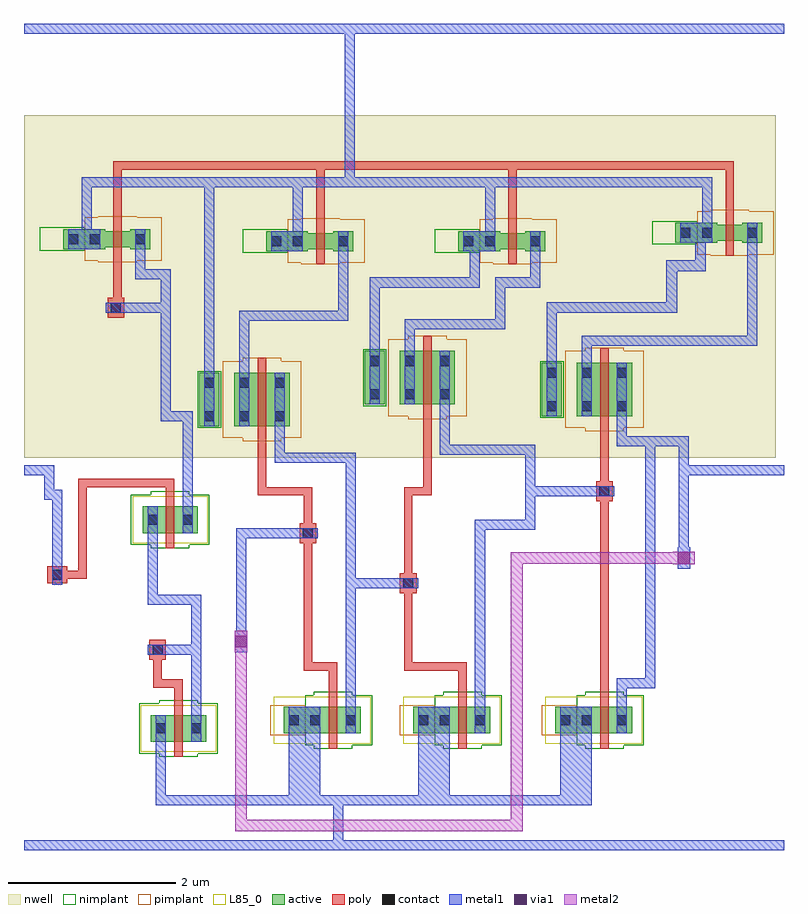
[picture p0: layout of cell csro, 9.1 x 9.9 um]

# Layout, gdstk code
import gdstk
lib = gdstk.Library(unit=1e-6, precision=5e-10)
def R(c, l, rs):  # rectangles x0, y0, x1, y1
    for r in rs: c.add(gdstk.rectangle(r[:2], r[2:], *l))
def A(c, l, x, y, w, h, nx, ny, dx, dy):  # array of equal rectangles
    R(c, l, [(x+i*dx, y+j*dy, x+i*dx+w, y+j*dy+h) for i in range(nx) for j in range(ny)])
active = (1, 0)
nwell = (2, 0)
poly = (3, 0)
nimplant = (4, 0)
pimplant = (5, 0)
contact = (6, 0)
metal1 = (7, 0)
via1 = (8, 0)
metal2 = (9, 0)
L85_0 = (85, 0)

pmos1v_cdns_787862035850 = lib.new_cell('pmos1v_CDNS_787862035850')
R(pmos1v_cdns_787862035850, active, [(-0.7,0,-0.46,0.64), (-0.28,0,0,0.64), (0,0,0.1,0.64), (0.1,0,0.38,0.64)])
R(pmos1v_cdns_787862035850, nwell, [(-0.82,-0.12,0.5,0.76)])
R(pmos1v_cdns_787862035850, poly, [(0,-0.18,0.1,-0.1), (0,-0.1,0.1,0), (0,0,0.1,0.64), (0,0.64,0.1,0.74), (0,0.74,0.1,0.82)])
R(pmos1v_cdns_787862035850, nimplant, [(-0.72,-0.02,-0.44,0.66)])
R(pmos1v_cdns_787862035850, pimplant, [(-0.18,-0.18,0.28,0.82), (-0.42,-0.14,0.52,0.78)])
A(pmos1v_cdns_787862035850, contact, -0.64, 0.06, 0.12, 0.12, 3, 2, 0.42, 0.4)
A(pmos1v_cdns_787862035850, metal1, -0.64, 0, 0.12, 0.64, 3, 1, 0.42, 0)

nmos1v_cdns_787862035851 = lib.new_cell('nmos1v_CDNS_787862035851')
R(nmos1v_cdns_787862035851, active, [(-0.54,0,0,0.32), (0,0,0.1,0.32), (0.1,0,0.38,0.32)])
R(nmos1v_cdns_787862035851, poly, [(0,-0.18,0.1,-0.1), (0,-0.1,0.1,0), (0,0,0.1,0.32), (0,0.32,0.1,0.42), (0,0.42,0.1,0.5)])
R(nmos1v_cdns_787862035851, nimplant, [(-0.18,-0.18,0.28,0.5), (-0.28,-0.14,0.52,0.46)])
R(nmos1v_cdns_787862035851, pimplant, [(-0.7,-0.02,-0.28,0.34)])
R(nmos1v_cdns_787862035851, contact, [(-0.48,0.1,-0.36,0.22), (-0.22,0.1,-0.1,0.22), (0.2,0.1,0.32,0.22)])
R(nmos1v_cdns_787862035851, metal1, [(-0.48,0,-0.1,0.32), (-0.48,0,-0.1,0.32), (0.2,0,0.32,0.32)])
R(nmos1v_cdns_787862035851, L85_0, [(-0.66,-0.12,0.5,0.44)])

nmos1v_cdns_787862035852 = lib.new_cell('nmos1v_CDNS_787862035852')
R(nmos1v_cdns_787862035852, active, [(-0.28,0,0,0.32), (0,0,0.1,0.32), (0.1,0,0.38,0.32)])
R(nmos1v_cdns_787862035852, poly, [(0,-0.18,0.1,-0.1), (0,-0.1,0.1,0), (0,0,0.1,0.32), (0,0.32,0.1,0.42), (0,0.42,0.1,0.5)])
R(nmos1v_cdns_787862035852, nimplant, [(-0.18,-0.18,0.28,0.5), (-0.42,-0.14,0.52,0.46)])
R(nmos1v_cdns_787862035852, contact, [(-0.22,0.1,-0.1,0.22), (0.2,0.1,0.32,0.22)])
R(nmos1v_cdns_787862035852, metal1, [(-0.22,0,-0.1,0.32), (0.2,0,0.32,0.32)])
R(nmos1v_cdns_787862035852, L85_0, [(-0.4,-0.12,0.5,0.44)])

pmos1v_cdns_787862035853 = lib.new_cell('pmos1v_CDNS_787862035853')
A(pmos1v_cdns_787862035853, active, -0.1, 0, 0.1, 0.19, 3, 1, 0.1, 0)
R(pmos1v_cdns_787862035853, active, [(-0.6,-0.025,-0.1,0.215), (0.2,-0.025,0.44,0.215)])
R(pmos1v_cdns_787862035853, nwell, [(-0.72,-0.145,0.56,0.335)])
R(pmos1v_cdns_787862035853, poly, [(0,-0.18,0.1,-0.125), (0,-0.125,0.1,0), (0,0,0.1,0.19), (0,0.19,0.1,0.315), (0,0.315,0.1,0.37)])
R(pmos1v_cdns_787862035853, nimplant, [(-0.88,-0.045,-0.34,0.235)])
R(pmos1v_cdns_787862035853, pimplant, [(-0.18,-0.18,0.28,0.37), (-0.34,-0.165,0.58,0.355)])
R(pmos1v_cdns_787862035853, contact, [(-0.54,0.035,-0.42,0.155), (-0.28,0.035,-0.16,0.155), (0.26,0.035,0.38,0.155)])
R(pmos1v_cdns_787862035853, metal1, [(-0.54,-0.025,-0.16,0.215), (-0.54,-0.025,-0.16,0.215), (0.26,-0.025,0.38,0.215)])

m1_pov_cdns_787862035850 = lib.new_cell('M1_POv_CDNS_787862035850')
R(m1_pov_cdns_787862035850, poly, [(-0.12,-0.1,0.12,0.1)])
R(m1_pov_cdns_787862035850, contact, [(-0.06,-0.06,0.06,0.06)])
R(m1_pov_cdns_787862035850, metal1, [(-0.06,-0.12,0.06,0.12)])

m1_pov_cdns_787862035851 = lib.new_cell('M1_POv_CDNS_787862035851')
R(m1_pov_cdns_787862035851, poly, [(-0.1,-0.12,0.1,0.12)])
R(m1_pov_cdns_787862035851, contact, [(-0.06,-0.06,0.06,0.06)])
R(m1_pov_cdns_787862035851, metal1, [(-0.12,-0.06,0.12,0.06)])

m2_m1v_cdns_787862035852 = lib.new_cell('M2_M1v_CDNS_787862035852')
R(m2_m1v_cdns_787862035852, metal1, [(-0.075,-0.13,0.075,0.13)])
R(m2_m1v_cdns_787862035852, via1, [(-0.07,-0.07,0.07,0.07)])
R(m2_m1v_cdns_787862035852, metal2, [(-0.13,-0.075,0.13,0.075)])

m2_m1v_cdns_787862035853 = lib.new_cell('M2_M1v_CDNS_787862035853')
R(m2_m1v_cdns_787862035853, metal1, [(-0.075,-0.13,0.075,0.13)])
R(m2_m1v_cdns_787862035853, via1, [(-0.07,-0.07,0.07,0.07)])
R(m2_m1v_cdns_787862035853, metal2, [(-0.075,-0.13,0.075,0.13)])

csro = lib.new_cell('csro')
R(csro, nwell, [(0,4.7,9,8.8)])
R(csro, metal1, [(0,0,9.1,0.12), (0,4.49,0.12,4.61), (8.98,4.49,9.1,4.61), (0,9.78,9.1,9.9)])
csro.add(gdstk.FlexPath([(6.95,5.02),(6.95,4.4)], 0.1, ends="flush", simple_path=True, layer=3, datatype=0))  # poly
csro.add(gdstk.FlexPath([(6.9,4.4),(6.95,4.4)], 0.1, ends=(0, 0.05), simple_path=True, layer=3, datatype=0))  # poly
csro.add(gdstk.FlexPath([(6.95,4.3),(6.95,1.9)], 0.1, ends="flush", simple_path=True, layer=3, datatype=0))  # poly
csro.add(gdstk.FlexPath([(4.83,4.3),(4.83,5.16)], 0.1, ends=(0.05, 0), simple_path=True, layer=3, datatype=0))  # poly
csro.add(gdstk.FlexPath([(2.8,4.3),(3.4,4.3)], 0.1, ends=(0, 0.05), simple_path=True, layer=3, datatype=0))  # poly
csro.add(gdstk.FlexPath([(5.3,2.2),(4.6,2.2)], 0.1, ends=(0, 0.05), simple_path=True, layer=3, datatype=0))  # poly
csro.add(gdstk.FlexPath([(4.6,4.3),(4.83,4.3)], 0.1, ends="extended", simple_path=True, layer=3, datatype=0))  # poly
csro.add(gdstk.FlexPath([(5.25,1.9),(5.25,2.2)], 0.1, ends="flush", simple_path=True, layer=3, datatype=0))  # poly
csro.add(gdstk.FlexPath([(2.85,4.9),(2.85,4.3)], 0.1, ends="flush", simple_path=True, layer=3, datatype=0))  # poly
csro.add(gdstk.FlexPath([(1.6,2),(1.6,2.4)], 0.1, ends=(0.05, 0), simple_path=True, layer=3, datatype=0))  # poly
csro.add(gdstk.FlexPath([(1.85,2),(1.6,2)], 0.1, ends="extended", simple_path=True, layer=3, datatype=0))  # poly
csro.add(gdstk.FlexPath([(1.1,6.5),(1.12,6.5)], 0.1, ends=(0, 0.05), simple_path=True, layer=3, datatype=0))  # poly
csro.add(gdstk.FlexPath([(1.12,8.2),(3.55,8.2)], 0.1, ends="extended", simple_path=True, layer=3, datatype=0))  # poly
csro.add(gdstk.FlexPath([(4.6,3.2),(4.6,4.3)], 0.1, ends=(0, 0.05), simple_path=True, layer=3, datatype=0))  # poly
csro.add(gdstk.FlexPath([(6.95,4.4),(6.95,4.3)], 0.1, ends=(0.05, 0), simple_path=True, layer=3, datatype=0))  # poly
csro.add(gdstk.FlexPath([(3.4,4.3),(3.4,2.2),(3.7,2.2),(3.7,1.9)], 0.1, ends=(0.05, 0), simple_path=True, layer=3, datatype=0))  # poly
csro.add(gdstk.FlexPath([(1.85,1.8),(1.85,2)], 0.1, ends=(0, 0.05), simple_path=True, layer=3, datatype=0))  # poly
csro.add(gdstk.FlexPath([(0.5,3.3),(0.3,3.3)], 0.1, ends="flush", simple_path=True, layer=3, datatype=0))  # poly
csro.add(gdstk.FlexPath([(1.7,4.3),(1.8,4.3)], 0.1, ends="flush", simple_path=True, layer=3, datatype=0))  # poly
csro.add(gdstk.FlexPath([(0.5,3.3),(0.7,3.3),(0.7,4.4),(1.8,4.4)], 0.1, ends="flush", simple_path=True, layer=3, datatype=0))  # poly
csro.add(gdstk.FlexPath([(1.12,7.595),(1.12,8.2)], 0.1, ends=(0, 0.05), simple_path=True, layer=3, datatype=0))  # poly
csro.add(gdstk.FlexPath([(5.85,7.57),(5.85,8.2)], 0.1, ends="flush", simple_path=True, layer=3, datatype=0))  # poly
csro.add(gdstk.FlexPath([(3.55,7.57),(3.55,8.2)], 0.1, ends=(0, 0.05), simple_path=True, layer=3, datatype=0))  # poly
csro.add(gdstk.FlexPath([(1.12,6.5),(1.12,7.045)], 0.1, ends=(0.05, 0), simple_path=True, layer=3, datatype=0))  # poly
csro.add(gdstk.FlexPath([(3.6,8.2),(8.5,8.2)], 0.1, ends="flush", simple_path=True, layer=3, datatype=0))  # poly
csro.add(gdstk.FlexPath([(4.6,2.2),(4.6,3.2)], 0.1, ends=(0.05, 0), simple_path=True, layer=3, datatype=0))  # poly
csro.add(gdstk.FlexPath([(3.55,8.2),(3.6,8.2)], 0.1, ends=(0.05, 0), simple_path=True, layer=3, datatype=0))  # poly
csro.add(gdstk.FlexPath([(8.45,7.67),(8.45,8.2)], 0.1, ends="flush", simple_path=True, layer=3, datatype=0))  # poly
csro.add(gdstk.FlexPath([(2.22,8),(0.75,8)], 0.12, ends="extended", simple_path=True, layer=7, datatype=0))  # metal1
csro.add(gdstk.FlexPath([(4.62,5.98),(4.62,6.3)], 0.12, ends=(0, 0.06), simple_path=True, layer=7, datatype=0))  # metal1
csro.add(gdstk.FlexPath([(3.91,3.2),(3.91,1.72)], 0.12, ends=(0.06, 0), simple_path=True, layer=7, datatype=0))  # metal1
csro.add(gdstk.FlexPath([(8.98,4.55),(7.9,4.55)], 0.12, ends=(0, 0.06), simple_path=True, layer=7, datatype=0))  # metal1
csro.add(gdstk.FlexPath([(1.39,6.9),(1.7,6.9)], 0.12, ends="extended", simple_path=True, layer=7, datatype=0))  # metal1
csro.add(gdstk.FlexPath([(1.7,6.9),(1.7,6.5)], 0.12, ends="extended", simple_path=True, layer=7, datatype=0))  # metal1
csro.add(gdstk.FlexPath([(6.06,4.8),(6.06,4.3)], 0.12, ends="extended", simple_path=True, layer=7, datatype=0))  # metal1
csro.add(gdstk.FlexPath([(6.06,4.3),(6.06,3.9)], 0.12, ends="extended", simple_path=True, layer=7, datatype=0))  # metal1
csro.add(gdstk.FlexPath([(6.06,4.3),(6.95,4.3)], 0.12, ends=(0.06, 0), simple_path=True, layer=7, datatype=0))  # metal1
csro.add(gdstk.FlexPath([(3.91,3.2),(4.6,3.2)], 0.12, ends=(0.06, 0), simple_path=True, layer=7, datatype=0))  # metal1
csro.add(gdstk.FlexPath([(7.9,4.55),(7.9,3.5)], 0.12, ends=(0.06, 0), simple_path=True, layer=7, datatype=0))  # metal1
csro.add(gdstk.FlexPath([(2.6,2.5),(2.6,3.8)], 0.12, ends=(0, 0.06), simple_path=True, layer=7, datatype=0))  # metal1
csro.add(gdstk.FlexPath([(2.6,3.8),(3.4,3.8)], 0.12, ends=(0.06, 0), simple_path=True, layer=7, datatype=0))  # metal1
csro.add(gdstk.FlexPath([(1.6,2.4),(2.06,2.4)], 0.12, ends=(0, 0.06), simple_path=True, layer=7, datatype=0))  # metal1
csro.add(gdstk.FlexPath([(2.06,2.4),(2.06,1.62)], 0.12, ends=(0.06, 0), simple_path=True, layer=7, datatype=0))  # metal1
csro.add(gdstk.FlexPath([(6.32,5.74),(6.32,6.5)], 0.12, ends=(0, 0.065), simple_path=True, layer=7, datatype=0))  # metal1
csro.add(gdstk.FlexPath([(6.32,6.5),(7.755,6.5)], 0.13, ends=(0.06, 0.065), simple_path=True, layer=7, datatype=0))  # metal1
csro.add(gdstk.FlexPath([(7.755,6.5),(7.755,7)], 0.13, ends="extended", simple_path=True, layer=7, datatype=0))  # metal1
csro.add(gdstk.FlexPath([(4.2,6.8),(4.2,5.78)], 0.12, ends=(0.06, 0), simple_path=True, layer=7, datatype=0))  # metal1
csro.add(gdstk.FlexPath([(6.12,6.8),(6.12,7.175)], 0.12, ends=(0.06, 0), simple_path=True, layer=7, datatype=0))  # metal1
csro.add(gdstk.FlexPath([(5.7,6.8),(6.12,6.8)], 0.12, ends="extended", simple_path=True, layer=7, datatype=0))  # metal1
csro.add(gdstk.FlexPath([(2.22,5.7),(2.22,8)], 0.12, ends=(0, 0.06), simple_path=True, layer=7, datatype=0))  # metal1
csro.add(gdstk.FlexPath([(2.64,6.4),(3.82,6.4)], 0.12, ends="extended", simple_path=True, layer=7, datatype=0))  # metal1
csro.add(gdstk.FlexPath([(2.64,5.72),(2.64,6.4)], 0.12, ends=(0, 0.06), simple_path=True, layer=7, datatype=0))  # metal1
csro.add(gdstk.FlexPath([(1.7,5.2),(1.96,5.2)], 0.12, ends="extended", simple_path=True, layer=7, datatype=0))  # metal1
csro.add(gdstk.FlexPath([(1.7,6.5),(1.7,5.2)], 0.12, ends="extended", simple_path=True, layer=7, datatype=0))  # metal1
csro.add(gdstk.FlexPath([(0.4,4.26),(0.4,3.3)], 0.12, ends=(0.06, 0), simple_path=True, layer=7, datatype=0))  # metal1
csro.add(gdstk.FlexPath([(0.3,4.26),(0.4,4.26)], 0.12, ends="extended", simple_path=True, layer=7, datatype=0))  # metal1
csro.add(gdstk.FlexPath([(4.91,0.6),(3.76,0.6)], 0.12, ends=(0.19, 0.06), simple_path=True, layer=7, datatype=0))  # metal1
csro.add(gdstk.FlexPath([(3.76,0),(3.76,0.6)], 0.12, ends=(0, 0.06), simple_path=True, layer=7, datatype=0))  # metal1
csro.add(gdstk.FlexPath([(3.36,1.4),(3.36,0.6)], 0.38, ends=(0, 0.06), simple_path=True, layer=7, datatype=0))  # metal1
csro.add(gdstk.FlexPath([(3.76,0.6),(3.36,0.6)], 0.12, ends=(0.06, 0.19), simple_path=True, layer=7, datatype=0))  # metal1
csro.add(gdstk.FlexPath([(4.91,1.4),(4.91,0.6)], 0.38, ends=(0, 0.06), simple_path=True, layer=7, datatype=0))  # metal1
csro.add(gdstk.FlexPath([(6.8,0.6),(4.91,0.6)], 0.12, ends=(0, 0.19), simple_path=True, layer=7, datatype=0))  # metal1
csro.add(gdstk.FlexPath([(6.61,1.4),(6.61,0.6)], 0.38, ends="flush", simple_path=True, layer=7, datatype=0))  # metal1
csro.add(gdstk.FlexPath([(3.36,0.6),(1.64,0.6)], 0.12, ends=(0.19, 0.06), simple_path=True, layer=7, datatype=0))  # metal1
csro.add(gdstk.FlexPath([(1.64,0.6),(1.64,1.3)], 0.12, ends=(0.06, 0), simple_path=True, layer=7, datatype=0))  # metal1
csro.add(gdstk.FlexPath([(1.39,7.2),(1.39,6.9)], 0.12, ends=(0, 0.06), simple_path=True, layer=7, datatype=0))  # metal1
csro.add(gdstk.FlexPath([(1.7,6.5),(1.1,6.5)], 0.12, ends=(0.06, 0), simple_path=True, layer=7, datatype=0))  # metal1
csro.add(gdstk.FlexPath([(1.96,5.2),(1.96,4.12)], 0.12, ends=(0.06, 0), simple_path=True, layer=7, datatype=0))  # metal1
csro.add(gdstk.FlexPath([(7.16,1.72),(7.16,2)], 0.12, ends=(0, 0.06), simple_path=True, layer=7, datatype=0))  # metal1
csro.add(gdstk.FlexPath([(7.16,5.2),(7.16,4.9)], 0.12, ends=(0, 0.06), simple_path=True, layer=7, datatype=0))  # metal1
csro.add(gdstk.FlexPath([(7.16,2),(7.5,2)], 0.12, ends="extended", simple_path=True, layer=7, datatype=0))  # metal1
csro.add(gdstk.FlexPath([(7.5,4.9),(7.9,4.9)], 0.12, ends="extended", simple_path=True, layer=7, datatype=0))  # metal1
csro.add(gdstk.FlexPath([(7.5,2),(7.5,4.9)], 0.12, ends="extended", simple_path=True, layer=7, datatype=0))  # metal1
csro.add(gdstk.FlexPath([(5.04,5.34),(5.04,4.8)], 0.12, ends=(0, 0.06), simple_path=True, layer=7, datatype=0))  # metal1
csro.add(gdstk.FlexPath([(5.04,4.8),(6.06,4.8)], 0.12, ends="extended", simple_path=True, layer=7, datatype=0))  # metal1
csro.add(gdstk.FlexPath([(5.46,3.9),(5.46,1.72)], 0.12, ends=(0.06, 0), simple_path=True, layer=7, datatype=0))  # metal1
csro.add(gdstk.FlexPath([(3.06,5.08),(3.06,4.7)], 0.12, ends=(0, 0.06), simple_path=True, layer=7, datatype=0))  # metal1
csro.add(gdstk.FlexPath([(3.06,4.7),(3.91,4.7)], 0.12, ends="extended", simple_path=True, layer=7, datatype=0))  # metal1
csro.add(gdstk.FlexPath([(3.91,4.7),(3.91,3.2)], 0.12, ends="extended", simple_path=True, layer=7, datatype=0))  # metal1
csro.add(gdstk.FlexPath([(1.54,3.8),(1.54,3)], 0.12, ends=(0, 0.06), simple_path=True, layer=7, datatype=0))  # metal1
csro.add(gdstk.FlexPath([(6.74,6.1),(8.72,6.1)], 0.12, ends="extended", simple_path=True, layer=7, datatype=0))  # metal1
csro.add(gdstk.FlexPath([(8.72,6.1),(8.72,7.275)], 0.12, ends=(0.06, 0), simple_path=True, layer=7, datatype=0))  # metal1
csro.add(gdstk.FlexPath([(2.06,3),(2.06,2.4)], 0.12, ends="extended", simple_path=True, layer=7, datatype=0))  # metal1
csro.add(gdstk.FlexPath([(1.54,3),(2.06,3)], 0.12, ends="extended", simple_path=True, layer=7, datatype=0))  # metal1
csro.add(gdstk.FlexPath([(6.74,5.74),(6.74,6.1)], 0.12, ends=(0, 0.06), simple_path=True, layer=7, datatype=0))  # metal1
csro.add(gdstk.FlexPath([(5.4,6.8),(4.2,6.8)], 0.12, ends="extended", simple_path=True, layer=7, datatype=0))  # metal1
csro.add(gdstk.FlexPath([(5.26,7.235),(5.4,7.235)], 0.12, ends=(0, 0.06), simple_path=True, layer=7, datatype=0))  # metal1
csro.add(gdstk.FlexPath([(3.82,6.4),(3.82,7.175)], 0.12, ends=(0.06, 0), simple_path=True, layer=7, datatype=0))  # metal1
csro.add(gdstk.FlexPath([(0.12,4.55),(0.3,4.55)], 0.12, ends=(0, 0.06), simple_path=True, layer=7, datatype=0))  # metal1
csro.add(gdstk.FlexPath([(0.3,4.55),(0.3,4.26)], 0.12, ends="extended", simple_path=True, layer=7, datatype=0))  # metal1
csro.add(gdstk.FlexPath([(5.4,7.235),(5.4,6.8)], 0.12, ends="extended", simple_path=True, layer=7, datatype=0))  # metal1
csro.add(gdstk.FlexPath([(7.9,4.9),(7.9,4.55)], 0.12, ends="extended", simple_path=True, layer=7, datatype=0))  # metal1
csro.add(gdstk.FlexPath([(8.18,8),(5.58,8)], 0.12, ends="extended", simple_path=True, layer=7, datatype=0))  # metal1
csro.add(gdstk.FlexPath([(3.28,7.415),(3.28,8)], 0.12, ends=(0, 0.06), simple_path=True, layer=7, datatype=0))  # metal1
csro.add(gdstk.FlexPath([(3.9,8),(3.9,9.8)], 0.12, ends=(0.06, 0), simple_path=True, layer=7, datatype=0))  # metal1
csro.add(gdstk.FlexPath([(5.7,6.3),(5.7,6.8)], 0.12, ends="extended", simple_path=True, layer=7, datatype=0))  # metal1
csro.add(gdstk.FlexPath([(7.16,4.9),(7.5,4.9)], 0.12, ends="extended", simple_path=True, layer=7, datatype=0))  # metal1
csro.add(gdstk.FlexPath([(3.9,8),(3.28,8)], 0.12, ends="extended", simple_path=True, layer=7, datatype=0))  # metal1
csro.add(gdstk.FlexPath([(4.62,6.3),(5.7,6.3)], 0.12, ends="extended", simple_path=True, layer=7, datatype=0))  # metal1
csro.add(gdstk.FlexPath([(5.58,7.415),(5.58,8)], 0.12, ends=(0, 0.06), simple_path=True, layer=7, datatype=0))  # metal1
csro.add(gdstk.FlexPath([(7.755,7),(8.1,7)], 0.13, ends="extended", simple_path=True, layer=7, datatype=0))  # metal1
csro.add(gdstk.FlexPath([(6.06,3.9),(5.46,3.9)], 0.12, ends="extended", simple_path=True, layer=7, datatype=0))  # metal1
csro.add(gdstk.FlexPath([(5.58,8),(3.9,8)], 0.12, ends="extended", simple_path=True, layer=7, datatype=0))  # metal1
csro.add(gdstk.FlexPath([(8.18,7.515),(8.18,8)], 0.12, ends=(0, 0.06), simple_path=True, layer=7, datatype=0))  # metal1
csro.add(gdstk.FlexPath([(8.1,7),(8.1,7.275)], 0.13, ends=(0.065, 0), simple_path=True, layer=7, datatype=0))  # metal1
csro.add(gdstk.FlexPath([(3.28,8),(2.22,8)], 0.12, ends="extended", simple_path=True, layer=7, datatype=0))  # metal1
csro.add(gdstk.FlexPath([(0.75,8),(0.75,7.44)], 0.12, ends=(0.06, 0), simple_path=True, layer=7, datatype=0))  # metal1
csro.add(gdstk.FlexPath([(7.9,3.5),(5.9,3.5)], 0.14, ends=(0, 0.07), simple_path=True, layer=9, datatype=0))  # metal2
csro.add(gdstk.FlexPath([(5.9,3.5),(5.9,0.3)], 0.14, ends="extended", simple_path=True, layer=9, datatype=0))  # metal2
csro.add(gdstk.FlexPath([(5.9,0.3),(2.6,0.3)], 0.14, ends="extended", simple_path=True, layer=9, datatype=0))  # metal2
csro.add(gdstk.FlexPath([(2.6,0.3),(2.6,2.5)], 0.14, ends=(0.07, 0), simple_path=True, layer=9, datatype=0))  # metal2
csro.add(gdstk.Reference(pmos1v_cdns_787862035850, (6.9,5.2)))
csro.add(gdstk.Reference(pmos1v_cdns_787862035850, (4.78,5.34)))
csro.add(gdstk.Reference(pmos1v_cdns_787862035850, (2.8,5.08)))
csro.add(gdstk.Reference(nmos1v_cdns_787862035851, (3.65,1.4)))
csro.add(gdstk.Reference(nmos1v_cdns_787862035851, (5.2,1.4)))
csro.add(gdstk.Reference(nmos1v_cdns_787862035851, (6.9,1.4)))
csro.add(gdstk.Reference(nmos1v_cdns_787862035852, (1.8,1.3)))
csro.add(gdstk.Reference(nmos1v_cdns_787862035852, (1.7,3.8)))
csro.add(gdstk.Reference(pmos1v_cdns_787862035853, (1.07,7.225)))
csro.add(gdstk.Reference(pmos1v_cdns_787862035853, (8.4,7.3)))
csro.add(gdstk.Reference(pmos1v_cdns_787862035853, (5.8,7.2)))
csro.add(gdstk.Reference(pmos1v_cdns_787862035853, (3.5,7.2)))
csro.add(gdstk.Reference(m1_pov_cdns_787862035850, (0.4,3.3)))
csro.add(gdstk.Reference(m1_pov_cdns_787862035851, (6.95,4.3)))
csro.add(gdstk.Reference(m1_pov_cdns_787862035851, (4.6,3.2)))
csro.add(gdstk.Reference(m1_pov_cdns_787862035851, (3.4,3.8)))
csro.add(gdstk.Reference(m1_pov_cdns_787862035851, (1.6,2.4)))
csro.add(gdstk.Reference(m1_pov_cdns_787862035851, (1.1,6.5)))
csro.add(gdstk.Reference(m2_m1v_cdns_787862035852, (7.9,3.5)))
csro.add(gdstk.Reference(m2_m1v_cdns_787862035853, (2.6,2.5)))

lib.write_gds('csro.gds')
